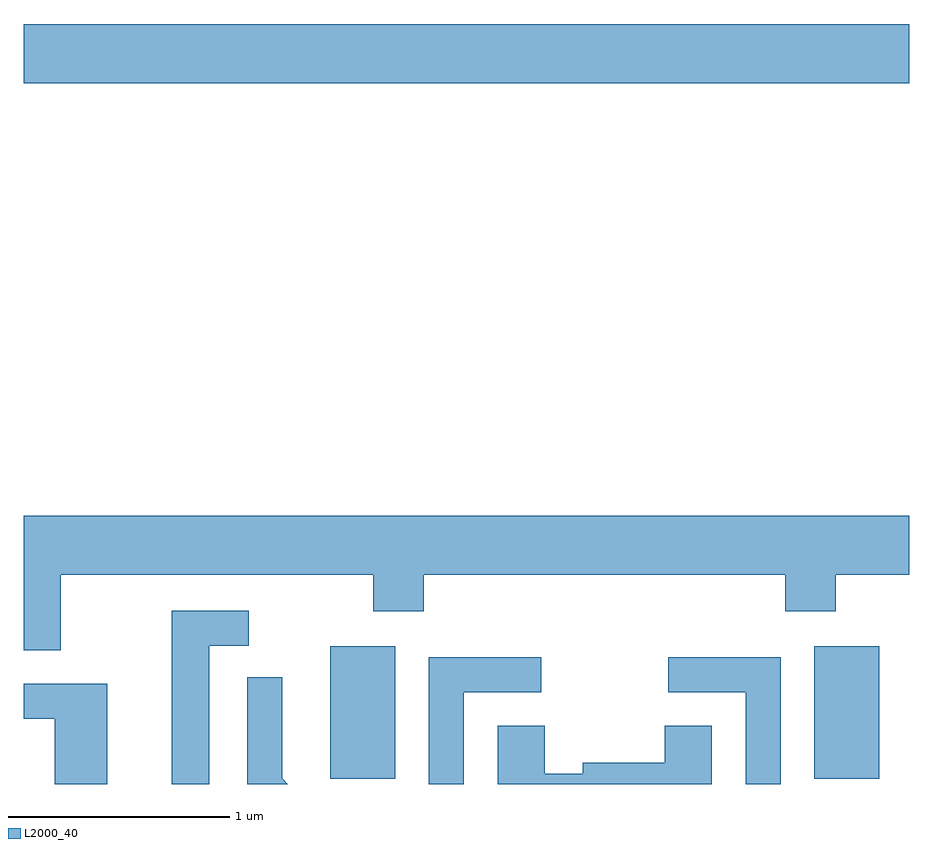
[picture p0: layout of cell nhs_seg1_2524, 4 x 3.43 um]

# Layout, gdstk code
import gdstk
lib = gdstk.Library(unit=1e-6, precision=1e-09)
def R(c, l, rs):  # rectangles x0, y0, x1, y1
    for r in rs: c.add(gdstk.rectangle(r[:2], r[2:], *l))
def P(c, l, *ps):  # polygons
    for p in ps: c.add(gdstk.Polygon(p, *l))
L2000_40 = (2000, 40)

nhs_seg1_2524 = lib.new_cell('nhs_seg1_2524')
R(nhs_seg1_2524, L2000_40, [(262.996,929.736,263.289,930.334), (265.181,929.736,265.474,930.334), (261.611,932.876,265.611,933.144)])
P(nhs_seg1_2524, L2000_40, [(261.779,930.656),(263.191,930.656),(263.191,930.491),(263.419,930.491),(263.419,930.656),(265.051,930.656),(265.051,930.491),(265.279,930.491),(265.279,930.656),(265.611,930.656),(265.611,930.924),(261.611,930.924),(261.611,930.316),(261.779,930.316)],
  [(262.449,930.336),(262.628,930.336),(262.628,930.494),(262.281,930.494),(262.281,929.712),(262.449,929.712)],
  [(265.029,930.284),(264.523,930.284),(264.523,930.126),(264.871,930.126),(264.871,929.712),(265.029,929.712)],
  [(263.599,930.126),(263.948,930.126),(263.948,930.284),(263.441,930.284),(263.441,929.712),(263.599,929.712)],
  [(262.779,929.737),(262.779,930.193),(262.621,930.193),(262.621,929.712),(262.804,929.712)],
  [(261.989,930.164),(261.611,930.164),(261.611,930.006),(261.751,930.006),(261.751,929.712),(261.989,929.712)],
  [(264.719,929.974),(264.506,929.974),(264.506,929.809),(264.136,929.809),(264.136,929.759),(263.964,929.759),(263.964,929.974),(263.751,929.974),(263.751,929.712),(264.719,929.712)])

lib.write_gds('nhs_seg1_2524.gds')
